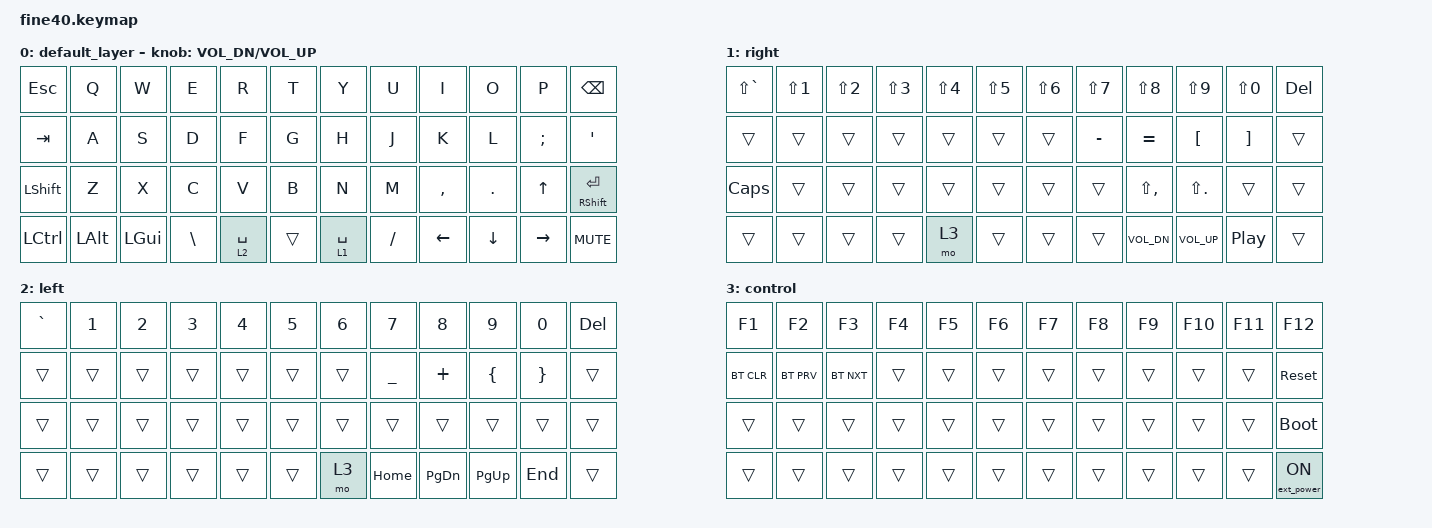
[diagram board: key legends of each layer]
/*
 * Aidan Smith (2021)
 *
 * SPDX-License-Identifier: MIT
 */

#include <behaviors.dtsi>
#include <dt-bindings/zmk/keys.h>
#include <dt-bindings/zmk/bt.h>
#include <dt-bindings/zmk/ext_power.h>

/ {
	keymap {
		compatible = "zmk,keymap";

		default_layer {
			bindings = <
				&kp ESC    &kp Q     &kp W     &kp E     &kp R         &kp T     &kp Y         &kp U     &kp I      &kp O     &kp P      &kp BSPC
				&kp TAB    &kp A     &kp S     &kp D     &kp F         &kp G     &kp H         &kp J     &kp K      &kp L     &kp SEMI   &kp SQT
				&kp LSHFT  &kp Z     &kp X     &kp C     &kp V         &kp B     &kp N         &kp M     &kp COMMA  &kp DOT   &kp UP     &mt RSHFT RET
				&kp LCTRL  &kp LALT  &kp LGUI  &kp BSLH  &lt 2 SPACE   &trans    &lt 1 SPACE   &kp FSLH  &kp LEFT   &kp DOWN  &kp RIGHT  &kp C_MUTE
			>;

			sensor-bindings = <&inc_dec_kp C_VOL_DN C_VOL_UP>;
		};

		right {
			bindings = <
				&kp LS(GRAVE) &kp LS(N1) &kp LS(N2) &kp LS(N3) &kp LS(N4) &kp LS(N5) &kp LS(N6) &kp LS(N7) &kp LS(N8)    &kp LS(N9)   &kp LS(N0) &kp DEL
				&trans        &trans 	 &trans     &trans     &trans     &trans     &trans     &kp MINUS  &kp EQUAL     &kp LBKT     &kp RBKT   &trans
				&kp CLCK      &trans     &trans     &trans     &trans     &trans     &trans     &trans     &kp LS(COMMA) &kp LS(DOT)  &trans     &trans
				&trans        &trans     &trans     &trans     &mo 3      &trans     &trans     &trans     &kp C_VOL_DN  &kp C_VOL_UP &kp C_PP   &trans
			>;
		};

		left {
			bindings = <
				&kp GRAVE &kp N1   &kp N2   &kp N3   &kp N4   &kp N5   &kp N6   &kp N7     &kp N8     &kp N9     &kp N0    &kp DEL
				&trans    &trans   &trans   &trans   &trans   &trans   &trans   &kp UNDER  &kp PLUS   &kp LBRC   &kp RBRC  &trans
				&trans    &trans   &trans   &trans   &trans   &trans   &trans   &trans     &trans     &trans     &trans    &trans
				&trans    &trans   &trans   &trans   &trans   &trans   &mo 3    &kp HOME   &kp PG_DN  &kp PG_UP  &kp END   &trans
			>;
		};

		control {
			bindings = <
				&kp F1      &kp F2      &kp F3      &kp F4    &kp F5    &kp F6    &kp F7    &kp F8    &kp F9    &kp F10   &kp F11   &kp F12
				&bt BT_CLR  &bt BT_PRV  &bt BT_NXT  &trans    &trans    &trans    &trans    &trans    &trans    &trans    &trans    &sys_reset
				&trans      &trans      &trans      &trans    &trans    &trans    &trans    &trans    &trans    &trans    &trans    &bootloader
				&trans      &trans      &trans      &trans    &trans    &trans    &trans    &trans    &trans    &trans    &trans    &ext_power EP_ON
			>;
		};
	};
};
